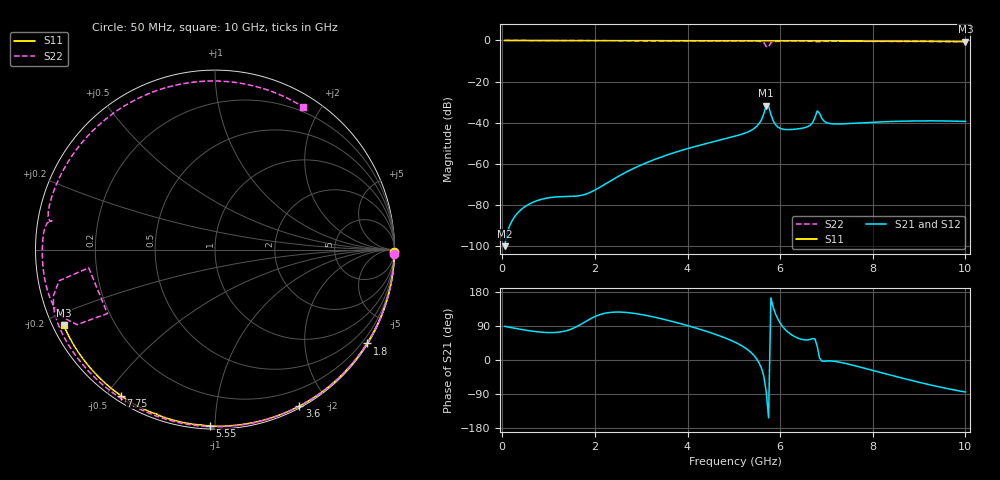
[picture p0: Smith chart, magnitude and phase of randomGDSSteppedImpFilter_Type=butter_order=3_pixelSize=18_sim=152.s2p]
! freq	dB(S11)	phase(S11)	dB(S12)	phase(S12)
!  dB(S21)	phase(S21)	dB(S22)	phase(S22)
!S-par simulation data
#  GHz  S  DB  R 50
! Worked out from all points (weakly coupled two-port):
!   200 points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, 50 MHz to 10 GHz, reference 50 ohm
!   highest |S21| = -31.73 dB at 5.7 GHz (marker M1); lowest = -100.2 dB at 50 MHz (marker M2)
!   lowest |S11| = -0.5 dB at 10 GHz (marker M3), VSWR 33.81, Z = 1.56 - j11.7 ohm
!   |S11| at or under -10 dB: nowhere
!   |S22| runs from -3.1 to 0.0 dB; largest |S21 - S12| = 0
!   S11 on the Smith chart (normalised r, x): 50 MHz: open; 1.8 GHz: 0.03, -3.52; 3.6 GHz: 0.02, -1.67; 5.55 GHz: 0.02, -0.97; 7.75 GHz: 0.02, -0.55; 10 GHz: 0.03, -0.23
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0.05  -0.00 -0.9  -100.15 88.9  -100.15 88.9  -0.00 -1.5
0.55  -0.01 -9.8  -80.05 77.8  -80.05 77.8  -0.02 -16.7
0.85  -0.02 -15.1  -77.30 73.3  -77.30 73.3  -0.03 -25.7
1.75  -0.04 -30.8  -75.16 97.9  -75.16 97.9  -0.07 -52.3
1.8  -0.04 -31.7  -74.83 101.5  -74.83 101.5  -0.07 -53.7
3.4  -0.08 -58.5  -57.02 109.9  -57.02 109.9  -0.13 -98.5
3.6  -0.08 -61.7  -55.45 103.9  -55.45 103.9  -0.14 -103.9
5.05  -0.13 -84.3  -46.46 45.5  -46.46 45.5  -0.22 -143.4
5.55  -0.15 -91.7  -40.33 -8.9  -40.33 -8.9  -0.41 -160.8
5.65  -0.16 -93.2  -35.54 -44.2  -35.54 -44.2  -1.05 -168.7
5.7  -0.18 -94.0  -31.73 -85.2  -31.73 -85.2  -2.96 -171.8
5.75  -0.18 -94.6  -31.89 -152.6  -31.89 -152.6  -3.14 -149.3
5.8  -0.17 -95.3  -36.08 164.0  -36.08 164.0  -1.15 -151.5
6  -0.17 -98.2  -42.79 97.5  -42.79 97.5  -0.37 -163.9
6.45  -0.20 -104.7  -42.82 55.0  -42.82 55.0  -0.33 -179.0
6.7  -0.22 -108.3  -40.01 56.4  -40.01 56.4  -0.39 172.8
6.8  -0.25 -109.7  -34.28 36.7  -34.28 36.7  -0.70 170.0
7.05  -0.23 -113.1  -40.36 -2.4  -40.36 -2.4  -0.40 163.6
7.75  -0.28 -122.8  -40.12 -19.4  -40.12 -19.4  -0.43 141.1
8.35  -0.34 -131.0  -39.49 -38.8  -39.49 -38.8  -0.48 120.7
9.2  -0.42 -142.6  -39.15 -64.6  -39.15 -64.6  -0.54 89.6
10  -0.51 -153.6  -39.41 -84.4  -39.41 -84.4  -0.59 58.4
